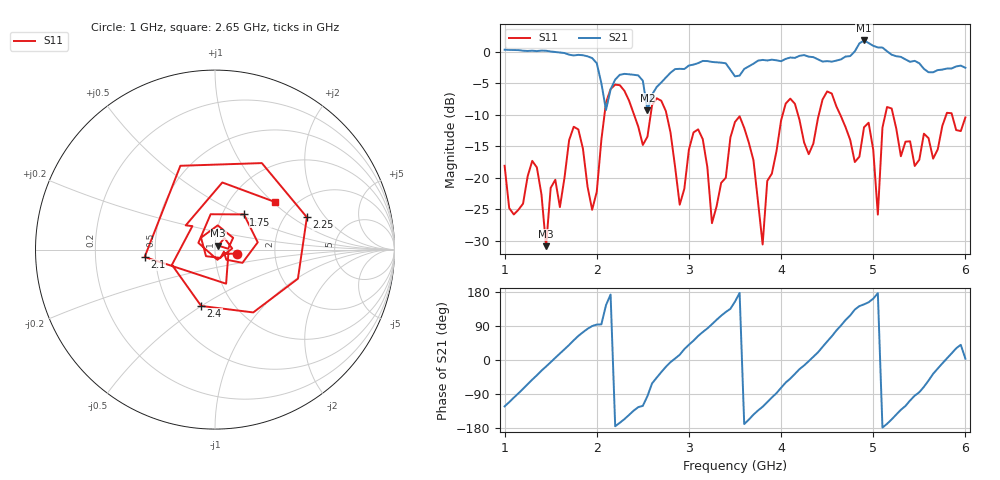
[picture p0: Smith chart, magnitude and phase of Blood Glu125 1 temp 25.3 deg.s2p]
! NanoVNA-App
! Date: 2024-03-21 00:06:10
! Start: 1GHz Stop: 6GHz Points: 101
! S-Parameter data: F S11 S21 S12 S22
# Hz S RI R 50
!	Frequency	S11_Real	S11_Imag	S21_Real	S21_Imag	S12_Real	S12_Imag	S22_Real	S22_Imag
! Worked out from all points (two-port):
!   101 points, 1 GHz to 6 GHz, reference 50 ohm
!   highest |S21| = 1.80 dB at 4.9 GHz (marker M1); lowest = -9.3 dB at 2.55 GHz (marker M2)
!   |S21| within 3 dB of the highest: start of sweep to 1.962 GHz; 4.651 GHz to 5.348 GHz (696.7 MHz wide, 13.9 % of centre)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
!   lowest |S11| = -30.9 dB at 1.45 GHz (marker M3), VSWR 1.06, Z = 51.8 + j2.3 ohm
!   |S11| at or under -10 dB: start of sweep to 2.084 GHz; 2.758 GHz to 4.017 GHz (1.259 GHz wide, 37.2 % of centre); 5.215 GHz to 5.793 GHz (577.4 MHz wide, 10.5 % of centre)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
!   S12 and S22 are empty: the file has one direction only
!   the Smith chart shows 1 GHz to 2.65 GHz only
!   S11 on the Smith chart (normalised r, x): 1 GHz: 1.28, -0.06; 1.75 GHz: 1.26, +0.53; 2.1 GHz: 0.44, -0.04; 2.25 GHz: 2.61, +1.33; 2.4 GHz: 0.71, -0.50; 2.65 GHz: 1.60, +1.03
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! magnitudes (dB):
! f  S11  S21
! 1 GHz  -18.1  0.3
! 1.45 GHz  -30.9  0.2
! 1.75 GHz  -11.9  -0.6
! 1.85 GHz  -15.4  -0.5
! 1.95 GHz  -25.1  -1.0
! 2.1 GHz  -8.1  -9.3
! 2.25 GHz  -5.3  -3.7
! 2.4 GHz  -9.8  -3.7
! 2.55 GHz  -13.5  -9.3
! 2.65 GHz  -7.4  -5.6
! 2.7 GHz  -7.8  -4.9
! 2.9 GHz  -24.3  -2.7
! 3.15 GHz  -13.9  -1.5
! 3.25 GHz  -27.2  -1.6
! 3.5 GHz  -11.1  -3.9
! 3.8 GHz  -30.6  -1.3
! 4.05 GHz  -8.2  -1.1
! 4.35 GHz  -14.6  -0.8
! 4.9 GHz  -12.0  1.8
! 5.05 GHz  -25.9  0.7
! 5.2 GHz  -9.0  -0.5
! 6 GHz  -10.4  -2.5
